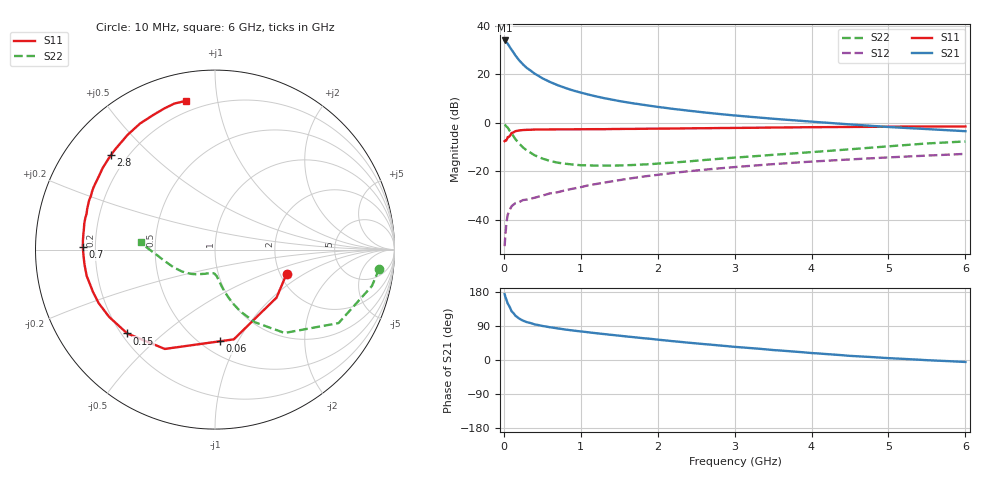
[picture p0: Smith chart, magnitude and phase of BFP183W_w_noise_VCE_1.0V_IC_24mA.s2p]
! (c) 2017  Infineon Technologies AG, Munich
! Infineon Technologies  Discrete & RF Semiconductors
! BFP183W
! VCE =  1.0 V,  IC =  24 mA
! Common Emitter S-Parameters:  Jan 2017
# GHz  S  MA  R  50
!  f  S11  S21  S12  S22
! GHz  MAG  ANG  MAG  ANG  MAG  ANG  MAG  ANG
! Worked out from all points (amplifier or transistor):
!   77 points, 10 MHz to 6 GHz, reference 50 ohm
!   highest |S21| = 33.9 dB at 10 MHz (marker M1)
!   |S21| within 3 dB of that: start of sweep to 83.1 MHz
!   unconditionally stable (mu >= 1): 669.8 MHz to 5.311 GHz
!   at 130 MHz: K = 0.33, MSG = 31.2 dB, |S12| = -33.6 dB
!   at 2.2 GHz: K = 1.18, MAG = 10.6 dB, |S12| = -20.6 dB
!   at 6 GHz: K = 0.98, MSG = 4.7 dB, |S12| = -12.8 dB
!   lowest NFmin = 1.27 dB at 450 MHz
!   S11 on the Smith chart (normalised r, x): 10 MHz: 2.17, -0.71; 60 MHz: 0.61, -0.85; 150 MHz: 0.22, -0.38; 700 MHz: 0.15, +0.01; 2.8 GHz: 0.14, +0.38; 6 GHz: 0.14, +0.81
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0.01  0.4214 -18.5  49.8 174.0  0.0029 80.1  0.9213 -6.6
0.02  0.4349 -38.0  48.65 166.6  0.0049 82.7  0.8972 -13.1
0.05  0.5109 -78.2  42.84 148.9  0.0128 61.9  0.8012 -30.7
0.06  0.5115 -86.9  40.37 145.7  0.014 58.6  0.756 -33.8
0.1  0.6201 -116.8  32.17 128.7  0.0192 49.6  0.6046 -50.2
0.15  0.6764 -136.3  24.49 117.0  0.0223 41.7  0.4631 -61.1
0.2  0.6992 -147.6  19.4 109.2  0.0235 41.3  0.3733 -67.6
0.25  0.7137 -155.4  15.95 103.8  0.0258 39.3  0.3117 -72.0
0.3  0.7196 -160.9  13.49 99.9  0.0264 39.9  0.2692 -74.9
0.4  0.7298 -168.4  10.32 94.0  0.0288 41.7  0.2156 -79.1
0.5  0.7319 -173.6  8.304 89.9  0.0318 45.0  0.1848 -81.7
0.6  0.7336 -177.6  6.961 86.4  0.0354 47.2  0.1649 -84.0
0.7  0.7365 179.0  5.974 83.4  0.0374 50.8  0.1518 -85.6
0.9  0.7383 173.3  4.653 77.8  0.0443 54.2  0.1389 -89.3
1.1  0.7426 168.8  3.83 73.1  0.0519 56.0  0.1336 -92.4
1.5  0.75 160.5  2.821 64.2  0.0662 58.1  0.133 -100.3
2.1  0.7633 149.2  2.039 51.7  0.0892 57.6  0.1487 -114.7
2.8  0.7836 137.8  1.526 38.4  0.1159 54.9  0.1823 -131.4
3.1  0.7903 133.3  1.379 33.2  0.1268 53.2  0.1978 -138.2
4.1  0.8181 119.5  1.034 17.1  0.1632 47.1  0.2569 -158.9
5.1  0.8369 108.9  0.807 3.9  0.1983 40.5  0.3385 -176.7
6  0.8443 101.0  0.675 -5.2  0.2302 34.1  0.4152 174.2
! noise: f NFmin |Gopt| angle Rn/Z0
0.45  1.27  0.23  176  0.1
0.9  1.29  0.27  178  0.09
1.9  1.78  0.43  -159  0.09
2.4  2.01  0.47  -154  0.13
